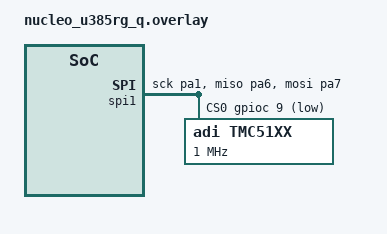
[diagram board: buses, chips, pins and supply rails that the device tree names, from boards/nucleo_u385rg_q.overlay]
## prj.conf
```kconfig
# Copyright (c) 2021 Nordic Semiconductor ASA
# SPDX-License-Identifier: Apache-2.0
#
# This file contains selected Kconfig options for the application.

CONFIG_SENSOR=y
#CONFIG_BLINK=y
CONFIG_CPP=y
CONFIG_STEPPER=y
#CONFIG_STEPPER_CONTROL=y
CONFIG_GPIO=y
CONFIG_STEPPER_STEP_DIR_GENERATE_ISR_SAFE_EVENTS=y
CONFIG_LOG=y
```

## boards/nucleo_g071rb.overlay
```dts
/ {
	aliases {
		stepper = &adi_tmc2209;
	};
};

&timers7 {
	st,prescaler = <79>;
	counter: counter {
		status = "okay";
	};
};

/ {
	adi_tmc2209: adi_tmc2209 {
		compatible = "adi,tmc2209";
		status = "okay";
		micro-step-res = <8>;
		msx-gpios = <&gpiob 0 GPIO_ACTIVE_HIGH>,	/* D10 */
					<&gpioa 7 GPIO_ACTIVE_HIGH>;	/* D11 */
		en-gpios = <&gpioa 6 GPIO_ACTIVE_HIGH>;		/* D12 */
		step-gpios = <&gpioa 9 GPIO_ACTIVE_HIGH>;	/* D8 */
		dir-gpios = <&gpioc 7 GPIO_ACTIVE_HIGH>;	/* D9 */
		counter = <&counter>;
	};
};
```

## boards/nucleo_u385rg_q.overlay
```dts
/ {
	aliases {
		stepper = &tmc51xx;
		//motion-controller = &tmc_motion_controller;
	};
};

&spi1 {
	//pinctrl-0 = < &spi3_sck_pb3 &spi3_miso_pb4 &spi3_mosi_pb5>;
	pinctrl-0 = <&spi1_sck_pa1 &spi1_miso_pa6 &spi1_mosi_pa7>;
	pinctrl-names = "default";
	cs-gpios = <&gpioc 9 GPIO_ACTIVE_LOW>;
	status = "okay";
	tmc51xx: tmc51xx@0 {
		compatible = "adi,tmc51xx";
		reg = <0>;
		spi-max-frequency = <DT_FREQ_M(1)>;
		//diag0-gpios = <&gpio0 0 (GPIO_ACTIVE_HIGH | GPIO_PULL_UP)>; /* Diag0 pin */

		#address-cells = <1>;
		#size-cells = <0>;

		/* Common settings from base binding */
		clock-frequency = <DT_FREQ_M(16)>; /* Internal/External Clock frequency */
		en-pwm-mode;
		invert-direction;
		micro-step-res = <256>;

		/* ADI TMC ramp generator as well as current settings */
		vstart = <0>;
		vstop = <10>;
		a1 = <1000>;
		v1 = <50000>;
		d1 = <1400>;
		vmax = <200000>;
		amax = <50000>;
		dmax = <700>;
		tzerowait = <100>;
		ihold = <10>;
		irun = <31>;
		iholddelay = <6>;
	};
};
```

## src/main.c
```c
/*
 * Copyright (c) 2021 Nordic Semiconductor ASA
 * SPDX-License-Identifier: Apache-2.0
 */

#include <zephyr/kernel.h>
#include <zephyr/drivers/stepper.h>
#include <zephyr/logging/log.h>

#include <app/drivers/blink.h>

#include <app_version.h>

LOG_MODULE_REGISTER(main, CONFIG_APP_LOG_LEVEL);

static void stepper_print_event_callback(const struct device *dev, enum stepper_event event,
					 void *user_data)
{
	const struct device *dev_callback = user_data;

	LOG_INF("Event %d, %s called for %s, expected for %s\n", event, __func__,
		dev_callback->name==NULL?"NULL":"soemthong", dev->name);
}


int main(void)
{
	const struct device *dev = DEVICE_DT_GET(DT_ALIAS(stepper));
	stepper_set_microstep_interval(dev, 10000000);
	stepper_set_event_callback(dev, stepper_print_event_callback, NULL );
	while (1) {
		int32_t pos;
		stepper_move_by(dev, 10);
		k_sleep(K_MSEC(1000));
		stepper_move_by(dev, -10);
		stepper_stop(dev);
		//stepper_get_actual_position(dev, &pos);
		//LOG_INF("pos: %d", pos);
		k_sleep(K_MSEC(1000));
	}

	return 0;
}
```
